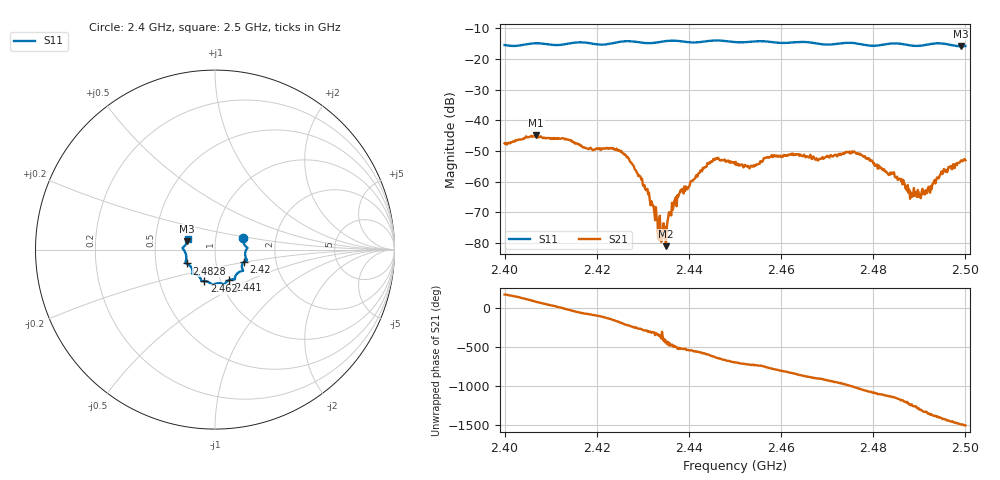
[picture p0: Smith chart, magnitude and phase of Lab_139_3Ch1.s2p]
# Hz S RI R 50
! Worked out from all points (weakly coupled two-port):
!   601 points, 2.4 GHz to 2.5 GHz, reference 50 ohm
!   highest |S21| = -44.95 dB at 2.4068 GHz (marker M1); lowest = -81.1 dB at 2.435 GHz (marker M2)
!   lowest |S11| = -15.8 dB at 2.499 GHz (marker M3), VSWR 1.39, Z = 36.5 + j3.47 ohm
!   |S11| at or under -10 dB: start of sweep to end of sweep
!   S12 and S22 are empty: the file has one direction only
!   S11 on the Smith chart (normalised r, x): 2.4 GHz: 1.36, +0.18; 2.42 GHz: 1.36, -0.20; 2.441 GHz: 1.10, -0.39; 2.462 GHz: 0.84, -0.30; 2.4828 GHz: 0.72, -0.11; 2.5 GHz: 0.73, +0.09
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2.4e9  0.1572 0.0631  -0.00408 0.00103  0 0  0 0
2.406833e9  0.1809 0.0105  0.00151 0.00545  0 0  0 0
2.416667e9  0.1779 -0.06  0.00132 -0.00363  0 0  0 0
2.42e9  0.1596 -0.0694  -0.000761 -0.0034  0 0  0 0
2.426667e9  0.1568 -0.1178  -0.00168 0.00187  0 0  0 0
2.430833e9  0.1285 -0.1293  0.000288 0.000674  0 0  0 0
2.433333e9  0.1124 -0.151  0.00012 1.2e-05  0 0  0 0
2.433833e9  0.1113 -0.1552  0.000177 -4.21e-06  0 0  0 0
2.435e9  0.1107 -0.1627  4.16e-05 -7.74e-05  0 0  0 0
2.438e9  0.1046 -0.1664  -0.000642 -0.000125  0 0  0 0
2.441e9  0.0787 -0.1696  -0.00101 0.000353  0 0  0 0
2.445833e9  0.0514 -0.1948  0.000425 0.00226  0 0  0 0
2.45e9  0.0287 -0.1872  0.00182 0.00056  0 0  0 0
2.4535e9  -0.00381 -0.1924  0.00175 -0.000468  0 0  0 0
2.462e9  -0.0602 -0.1756  -0.00102 -0.00257  0 0  0 0
2.466667e9  -0.0777 -0.1682  -0.00232 -0.000174  0 0  0 0
2.475833e9  -0.1262 -0.1319  0.0014 0.00276  0 0  0 0
2.482833e9  -0.1578 -0.0774  0.00102 -0.00103  0 0  0 0
2.483333e9  -0.1608 -0.076  0.000762 -0.00103  0 0  0 0
2.49e9  -0.163 -0.0235  -0.00039 0.000396  0 0  0 0
2.499e9  -0.1547 0.0463  0.00129 -0.00177  0 0  0 0
2.5e9  -0.1517 0.0612  0.000839 -0.00206  0 0  0 0
